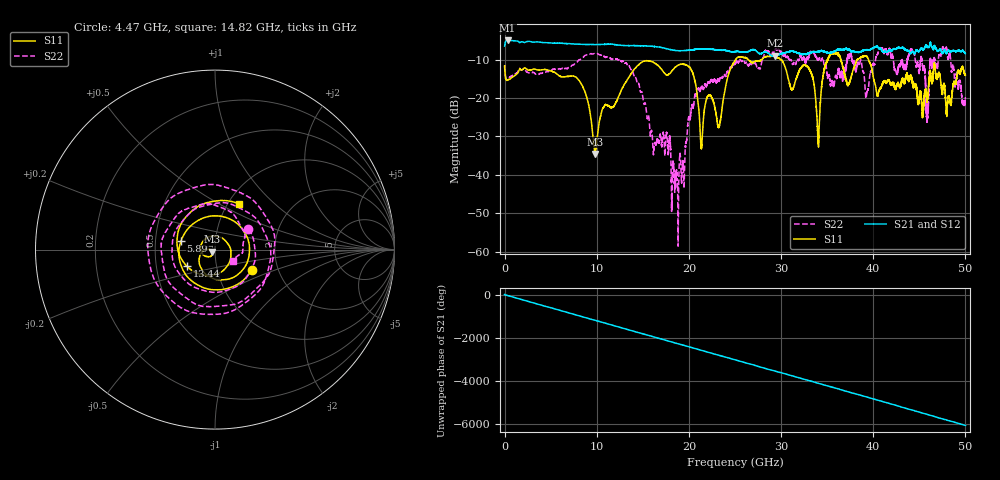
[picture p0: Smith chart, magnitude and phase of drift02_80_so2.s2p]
!Created with skrf (http://scikit-rf.org).
# Hz S RI R 50.0
!freq ReS11 ImS11 ReS21 ImS21 ReS12 ImS12 ReS22 ImS22
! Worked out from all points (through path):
!   10001 points, 300 kHz to 50 GHz, reference 50 ohm
!   highest |S21| = -5.04 dB at 325.3 MHz (marker M1); lowest = -9.0 dB at 29.37 GHz (marker M2)
!   group delay of S21, straight-line fit = 336 ps
!   lowest |S11| = -34.5 dB at 9.84 GHz (marker M3), VSWR 1.04, Z = 48.5 - j1.05 ohm
!   |S11| at or under -10 dB: start of sweep to 25.07 GHz; 29.98 GHz to 35.03 GHz (5.049 GHz wide, 15.5 % of centre); 39.48 GHz to end of sweep (the widest 3 of 11)
!   |S22| runs from -58.6 to -6.6 dB; largest |S21 - S12| = 0.022
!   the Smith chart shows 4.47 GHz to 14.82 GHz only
!   S11 on the Smith chart (normalised r, x): 4.47 GHz: 1.46, -0.35; 5.89 GHz: 0.68, +0.07; 13.44 GHz: 0.72, -0.14; 14.82 GHz: 1.12, +0.62
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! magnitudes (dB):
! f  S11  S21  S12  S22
! 300 kHz  -11.6  -6.5  -6.4  -11.6
! 325.3 MHz  -15.4  -5.0  -5.0  -15.0
! 4.47 GHz  -12.6  -5.6  -5.6  -13.2
! 5.89 GHz  -14.2  -5.7  -5.7  -12.5
! 8.335 GHz  -16.4  -6.0  -6.0  -9.6
! 9.84 GHz  -34.5  -6.1  -6.1  -8.5
! 13.44 GHz  -14.8  -6.4  -6.4  -11.6
! 14.82 GHz  -10.8  -6.4  -6.4  -18.5
! 16.67 GHz  -11.6  -6.7  -6.7  -31.4
! 18.66 GHz  -11.8  -7.7  -7.7  -39.6
! 20.37 GHz  -13.3  -7.5  -7.5  -22.0
! 21.37 GHz  -32.4  -7.2  -7.2  -16.9
! 23.31 GHz  -27.2  -7.5  -7.6  -15.6
! 25 GHz  -10.3  -7.9  -7.9  -11.2
! 29.37 GHz  -9.3  -9.0  -9.1  -7.3
! 33.34 GHz  -13.9  -8.1  -8.1  -8.1
! 34.02 GHz  -31.8  -7.9  -7.9  -10.3
! 35.52 GHz  -8.5  -8.2  -8.1  -15.6
! 41.67 GHz  -15.4  -7.6  -7.8  -7.3
! 45.85 GHz  -20.6  -6.7  -6.8  -21.4
! 47.76 GHz  -17.2  -7.5  -7.5  -7.5
! 50 GHz  -14.0  -8.4  -8.4  -20.0
